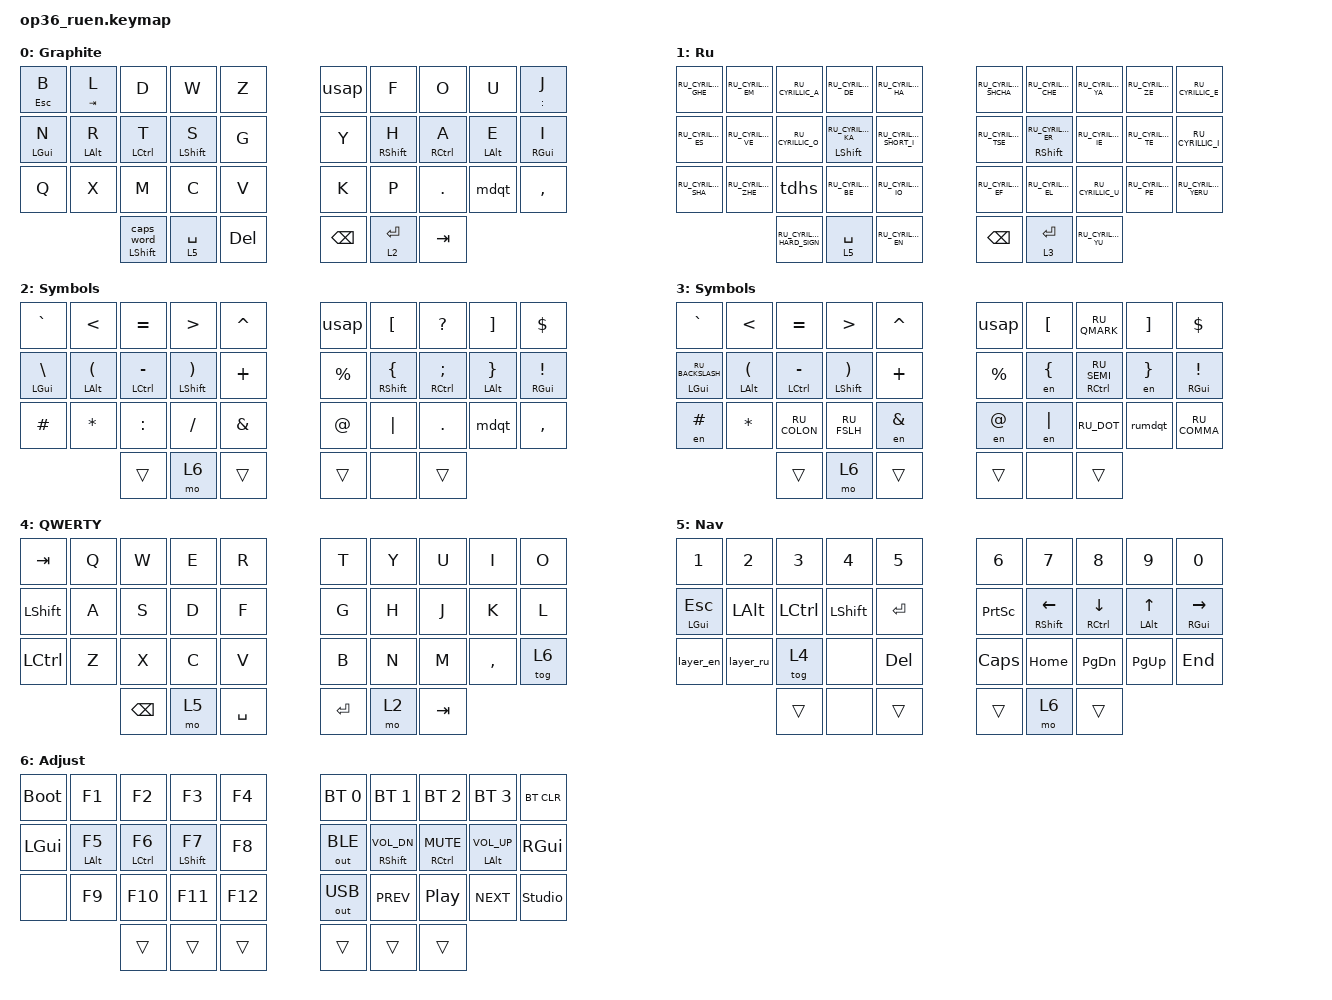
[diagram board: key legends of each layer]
#include "keys_ru.h"
#include <behaviors.dtsi>
#include <dt-bindings/zmk/bt.h>
#include <dt-bindings/zmk/keys.h>
#include <dt-bindings/zmk/outputs.h>

&mt {
    quick-tap-ms = <140>;
    flavor = "tap-preferred";
    require-prior-idle-ms = <30>;
};

/ {
    behaviors {
        hml: home_row_mod_left {
            compatible = "zmk,behavior-hold-tap";
            #binding-cells = <2>;
            flavor = "balanced";
            require-prior-idle-ms = <55>;
            tapping-term-ms = <135>;
            quick-tap-ms = <45>;
            bindings = <&kp>, <&kp>;

            hold-trigger-key-positions = <5 6 7 8 9 15 16 17 18 19 25 26 27 28 29 33 34 35>;
            hold-trigger-on-release;
        };

        hmr: home_row_mod_right {
            compatible = "zmk,behavior-hold-tap";
            #binding-cells = <2>;
            flavor = "balanced";
            require-prior-idle-ms = <55>;
            tapping-term-ms = <135>;
            quick-tap-ms = <150>;
            bindings = <&kp>, <&kp>;

            hold-trigger-key-positions = <0 1 2 3 4 10 11 12 13 14 20 21 22 23 24 30 31 32>;
            hold-trigger-on-release;
        };

        usap: undrscore_apos {
            compatible = "zmk,behavior-mod-morph";
            #binding-cells = <0>;
            bindings = <&kp APOS>, <&kp UNDERSCORE>;
            mods = <(MOD_LSFT|MOD_RSFT)>;
        };

        mdqt: minus_dqout {
            compatible = "zmk,behavior-mod-morph";
            #binding-cells = <0>;
            bindings = <&kp MINUS>, <&kp DQT>;
            mods = <(MOD_LSFT|MOD_RSFT)>;
        };

        rumdqt: minus_ru_dqout {
            compatible = "zmk,behavior-mod-morph";
            #binding-cells = <0>;
            bindings = <&kp MINUS>, <&kp RU_DQT>;
            mods = <(MOD_LSFT|MOD_RSFT)>;
        };

        tdhs: tap_dance_hard_sign {
            compatible = "zmk,behavior-tap-dance";
            #binding-cells = <0>;
            tapping-term-ms = <150>;
            bindings = <&kp RU_CYRILLIC_SOFT_SIGN>, <&kp RU_CYRILLIC_HARD_SIGN>;
        };

        tdyo: tap_dance_yo {
            compatible = "zmk,behavior-tap-dance";
            #binding-cells = <0>;
            tapping-term-ms = <150>;
            bindings = <&kp RU_CYRILLIC_E>, <&kp RU_CYRILLIC_IO>;
        };

        scw: shift_caps_word {
            compatible = "zmk,behavior-hold-tap";
            #binding-cells = <2>;
            flavor = "hold-preferred";
            tapping-term-ms = <150>;
            bindings = <&kp>, <&caps_word>;
            display-name = "Shift-Caps";
        };
    };

    combos {
        compatible = "zmk,combos";

        iy {
            bindings = <&kp RU_CYRILLIC_SHORT_I>;
            key-positions = <0 1>;
            layers = <1>;
        };

        cmben {
            bindings = <&layer_en>;
            key-positions = <32 33>;
            layers = <0>;
        };

        cmbru {
            bindings = <&layer_ru>;
            key-positions = <32 33>;
            layers = <1>;
        };
    };

    macros {
        to_ru: to_ru {
            compatible = "zmk,behavior-macro";
            #binding-cells = <0>;
            bindings = <&kp LS(LC(N2))>;
            label = "TO_RU";
            wait-ms = <0>;
            tap-ms = <30>;
        };

        to_en: to_en {
            compatible = "zmk,behavior-macro";
            #binding-cells = <0>;
            bindings = <&kp LS(LC(N1))>;
            label = "TO_EN";
            wait-ms = <0>;
            tap-ms = <30>;
        };

        to_gam: to_gam {
            compatible = "zmk,behavior-macro";
            #binding-cells = <0>;
            bindings = <&kp LS(LC(N3))>;
            label = "TO_GAM";
            wait-ms = <0>;
            tap-ms = <30>;
        };

        layer_en: layer_en {
            compatible = "zmk,behavior-macro";
            #binding-cells = <0>;
            bindings = <&to 0 &to_en>;
            label = "LAYER_EN";
            wait-ms = <0>;
            tap-ms = <30>;
        };

        layer_ru: layer_ru {
            compatible = "zmk,behavior-macro";
            #binding-cells = <0>;
            bindings = <&to 1 &to_ru>;
            label = "LAYER_RU";
            tap-ms = <30>;
            wait-ms = <0>;
        };

        layer_gam: layer_gam {
            compatible = "zmk,behavior-macro";
            #binding-cells = <0>;
            bindings = <&to 1 &to_gam>;
            label = "LAYER_GAM";
            tap-ms = <30>;
            wait-ms = <0>;

        };

        en: en {
            compatible = "zmk,behavior-macro-one-param";
            #binding-cells = <1>;
            bindings =
                <&to_en>,
                <&macro_press>,
                <&macro_param_1to1 &kp MACRO_PLACEHOLDER>,
                <&macro_pause_for_release>,
                <&macro_release>,
                <&macro_param_1to1 &kp MACRO_PLACEHOLDER>,
                <&macro_tap>,
                <&to_ru>;

            label = "EN";
            wait-ms = <0>;
            tap-ms = <30>;
        };
    };

    keymap {
        compatible = "zmk,keymap";

        gr {
            bindings = <
  &mt ESC B    &mt TAB L    &kp D         &kp W          &kp Z                                    &usap        &kp F         &kp O         &kp U        &mt COLON J
  &hml LGUI N  &hml LALT R  &hml LCTRL T  &hml LSHFT S   &kp G                                    &kp Y        &hmr RSHFT H  &hmr RCTRL A  &hmr LALT E  &hmr RGUI I
  &kp Q        &kp X        &kp M         &kp C          &kp V                                    &kp K        &kp P         &kp DOT       &mdqt    &kp COMMA
                                          &scw LSHIFT 0  &lt 5 SPACE &kp DELETE    &kp BACKSPACE  &lt 2 ENTER  &kp TAB
            >;

            display-name = "Graphite";
        };

        ru {
            bindings = <
  &kp RU_CYRILLIC_GHE   &kp RU_CYRILLIC_EM  &kp RU_CYRILLIC_A   &kp RU_CYRILLIC_DE        &kp RU_CYRILLIC_HA                             &kp RU_CYRILLIC_SHCHA     &kp RU_CYRILLIC_CHE       &kp RU_CYRILLIC_YA   &kp RU_CYRILLIC_ZE  &kp RU_CYRILLIC_E
  &kp RU_CYRILLIC_ES   &kp RU_CYRILLIC_VE   &kp RU_CYRILLIC_O   &hml LSHFT RU_CYRILLIC_KA  &kp RU_CYRILLIC_SHORT_I                        &kp RU_CYRILLIC_TSE  &hmr RSHFT RU_CYRILLIC_ER &kp RU_CYRILLIC_IE  &kp RU_CYRILLIC_TE  &kp RU_CYRILLIC_I
  &kp RU_CYRILLIC_SHA  &kp RU_CYRILLIC_ZHE  &tdhs               &kp RU_CYRILLIC_BE         &kp RU_CYRILLIC_IO                            &kp RU_CYRILLIC_EF    &kp RU_CYRILLIC_EL        &kp RU_CYRILLIC_U               &kp RU_CYRILLIC_PE  &kp RU_CYRILLIC_YERU
                                                                &kp RU_CYRILLIC_HARD_SIGN  &lt 5 SPACE  &kp RU_CYRILLIC_EN  &kp BACKSPACE  &lt 3 ENTER         &kp RU_CYRILLIC_YU
            >;

            display-name = "Ru";
        };

        sym_en {
            bindings = <
  &kp GRAVE       &kp LT          &kp EQUAL         &kp GT           &kp CARET                    &usap      &kp LBKT         &kp QMARK        &kp RBKT        &kp DLLR
  &hml LGUI BSLH  &hml LALT LPAR  &hml LCTRL MINUS  &hml LSHFT RPAR  &kp PLUS                     &kp PRCNT  &hmr RSHFT LBRC  &hmr RCTRL SEMI  &hmr LALT RBRC  &hmr RGUI EXCL
  &kp HASH        &kp STAR        &kp COLON         &kp FSLH         &kp AMPS                     &kp AT     &kp PIPE         &kp DOT          &mdqt       &kp COMMA
                                                    &trans           &mo 6      &trans    &trans  &none      &trans
            >;

            display-name = "Symbols";
        };

        sym_ru {
            bindings = <
  &kp GRAVE               &kp LT          &kp EQUAL         &kp GT           &kp CARET                    &usap      &kp LBKT  &kp RU_QMARK        &kp RBKT   &kp DLLR
  &hml LGUI RU_BACKSLASH  &hml LALT LPAR  &hml LCTRL MINUS  &hml LSHFT RPAR  &kp PLUS                     &kp PRCNT  &en LBRC  &hmr RCTRL RU_SEMI  &en RBRC   &hmr RGUI EXCL
  &en HASH                &kp STAR        &kp RU_COLON      &kp RU_FSLH      &en AMPS                     &en AT     &en PIPE  &kp RU_DOT          &rumdqt  &kp RU_COMMA
                                                            &trans           &mo 6      &trans    &trans  &none      &trans
            >;

            display-name = "Symbols";
        };

        gam {
            bindings = <
  &kp TAB    &kp Q  &kp W  &kp E  &kp R                          &kp T  &kp Y  &kp U  &kp I     &kp O
  &kp LSHFT  &kp A  &kp S  &kp D  &kp F                          &kp G  &kp H  &kp J  &kp K     &kp L
  &kp LCTRL  &kp Z  &kp X  &kp C  &kp V                          &kp B  &kp N  &kp M  &kp COMMA &tog 6 
                   &kp BACKSPACE  &mo 5  &kp SPACE    &kp ENTER  &mo 2  &kp TAB
            >;

            display-name = "QWERTY";
        };

        nav {
            bindings = <
  &kp N1         &kp N2    &kp N3     &kp N4     &kp N5                        &kp N6           &kp N7           &kp N8           &kp N9        &kp N0
  &hml LGUI ESC  &kp LALT  &kp LCTRL  &kp LSHFT  &kp ENTER                     &kp PRINTSCREEN  &hmr RSHFT LEFT  &hmr RCTRL DOWN  &hmr LALT UP  &hmr RGUI RIGHT
  &layer_en      &layer_ru &tog 4     &none      &kp DELETE                    &kp CAPS         &kp HOME         &kp PG_DN        &kp PG_UP     &kp END
                                      &trans     &none       &trans    &trans  &mo 6            &trans
            >;

            display-name = "Nav";
        };

        adj {
            bindings = <
  &bootloader  &kp F1        &kp F2         &kp F3         &kp F4                     &bt BT_SEL 0  &bt BT_SEL 1         &bt BT_SEL 2       &bt BT_SEL 3        &bt BT_CLR
  &kp LGUI     &hml LALT F5  &hml LCTRL F6  &hml LSHFT F7  &kp F8                     &out OUT_BLE  &hmr RSHFT C_VOL_DN  &hmr RCTRL C_MUTE  &hmr LALT C_VOL_UP  &kp RGUI
  &none        &kp F9        &kp F10        &kp F11        &kp F12                    &out OUT_USB  &kp C_PREV           &kp C_PP           &kp C_NEXT          &studio_unlock
                                            &trans         &trans   &trans    &trans  &trans        &trans
            >;

            display-name = "Adjust";
        };

    };
};
